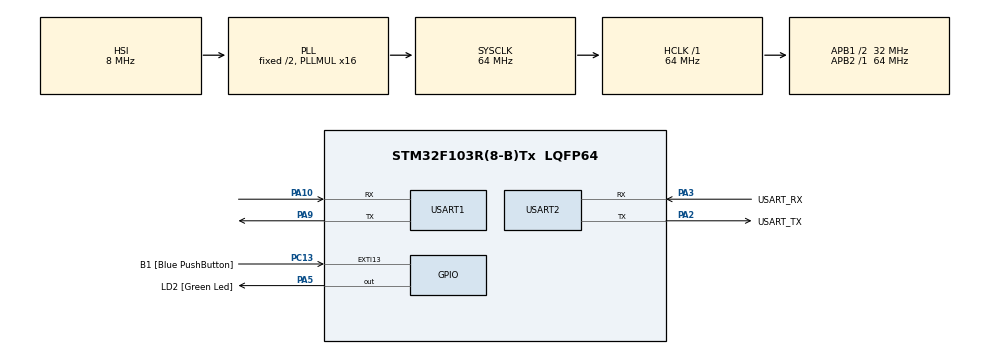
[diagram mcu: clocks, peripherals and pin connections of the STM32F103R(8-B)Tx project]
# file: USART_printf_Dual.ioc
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Mcu.Family=STM32F1
Mcu.Name=STM32F103R(8-B)Tx
Mcu.Package=LQFP64
NVIC.EXTI15_10_IRQn=true\:0\:0\:false\:false\:true\:true\:true\:true
NVIC.PriorityGroup=NVIC_PRIORITYGROUP_4
PA10.Mode=Asynchronous
PA10.Signal=USART1_RX
PA13.GPIO_Label=TMS
PA13.Mode=Serial_Wire
PA13.Signal=SYS_JTMS-SWDIO
PA14.GPIO_Label=TCK
PA14.Mode=Serial_Wire
PA14.Signal=SYS_JTCK-SWCLK
PA2.GPIO_Label=USART_TX
PA2.GPIO_Mode=GPIO_MODE_AF_PP
PA2.GPIO_PuPd=GPIO_NOPULL
PA2.GPIO_Speed=GPIO_SPEED_FREQ_LOW
PA2.Mode=Asynchronous
PA2.Signal=USART2_TX
PA3.GPIO_Label=USART_RX
PA3.GPIO_Mode=GPIO_MODE_INPUT
PA3.GPIO_PuPd=GPIO_NOPULL
PA3.Mode=Asynchronous
PA3.Signal=USART2_RX
PA5.GPIO_Label=LD2 [Green Led]
PA5.GPIO_ModeDefaultOutputPP=GPIO_MODE_OUTPUT_PP
PA5.GPIO_PuPd=GPIO_NOPULL
PA5.GPIO_Speed=GPIO_SPEED_FREQ_LOW
PA5.Signal=GPIO_Output
PA9.Mode=Asynchronous
PA9.Signal=USART1_TX
PB3.GPIO_Label=SWO
PB3.Signal=SYS_JTDO-TRACESWO
PC13-TAMPER-RTC.GPIO_Label=B1 [Blue PushButton]
PC13-TAMPER-RTC.GPIO_PuPd=GPIO_NOPULL
PC13-TAMPER-RTC.Signal=GPXTI13
PC14-OSC32_IN.Mode=LSE-External-Oscillator
PC14-OSC32_IN.Signal=RCC_OSC32_IN
PC15-OSC32_OUT.Mode=LSE-External-Oscillator
PC15-OSC32_OUT.Signal=RCC_OSC32_OUT
PD0-OSC_IN.Mode=HSE-External-Clock-Source
PD0-OSC_IN.Signal=RCC_OSC_IN
PD1-OSC_OUT.Mode=HSE-External-Clock-Source
PD1-OSC_OUT.Signal=RCC_OSC_OUT
ProjectManager.HeapSize=0x200
ProjectManager.StackSize=0x400
ProjectManager.TargetToolchain=STM32CubeIDE
RCC.AHBFreq_Value=64000000
RCC.APB1CLKDivider=RCC_HCLK_DIV2
RCC.APB1Freq_Value=32000000
RCC.APB1TimFreq_Value=64000000
RCC.APB2Freq_Value=64000000
RCC.APB2TimFreq_Value=64000000
RCC.HCLKFreq_Value=64000000
RCC.PLLMUL=RCC_PLL_MUL16
RCC.RTCClockSelection=RCC_RTCCLKSOURCE_LSE
RCC.SYSCLKFreq_VALUE=64000000
RCC.SYSCLKSource=RCC_SYSCLKSOURCE_PLLCLK
RCC.USBFreq_Value=64000000
USART1.VirtualMode=VM_ASYNC
USART2.VirtualMode=VM_ASYNC
board=NUCLEO-F103RB

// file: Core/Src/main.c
/* USER CODE BEGIN Header */
/**
 ******************************************************************************
 * @file           : main.c
 * @brief          : Main program body
 ******************************************************************************
 * @attention
 *
 * Copyright (c) 2026 STMicroelectronics.
 * All rights reserved.
 *
 * This software is licensed under terms that can be found in the LICENSE file
 * in the root directory of this software component.
 * If no LICENSE file comes with this software, it is provided AS-IS.
 *
 ******************************************************************************
 */
/**
 * 08_USART_printf_Dual  —  [계층: HAL]  printf 출력을 USART2(VCP) + USART1(PA9=D8) 로 동시에 보내기
 *
 * 목적: 01_USART_printf 와 같은 문자열을 USART1 에도 내보내, Arduino 헤더 D8(PA9)에서
 *       Analog Discovery 2(Scope/Logic + UART 디코더)로 실제 비트 파형을 관찰한다.
 *       (NUCLEO 기본 설정에서 PA2 는 SB62 OFF 라 D1 에 연결되어 있지 않고 ST-LINK VCP 쪽에만
 *        붙어 있어 헤더에서 측정하기 어렵다. USART1 은 헤더에 직결되어 있다.)
 *
 * 동작: printf -> newlib _write (syscalls.c) -> __io_putchar(ch) (이 파일)
 *         -> HAL_UART_Transmit(&huart2)  : PC 터미널 (ST-LINK 가상 COM)
 *         -> HAL_UART_Transmit(&huart1)  : PA9 = D8 (AD2 측정용)
 *
 * 하드웨어 대응 (RM0008)
 *   USART2 : PA2(TX) / PA3(RX)        , APB1(32MHz), 115200bps 8N1 -> USART2_BRR, USART2_CR1(TE/RE/UE)
 *   USART1 : PA9(TX)=D8 / PA10(RX)=D2 , APB2(64MHz), 115200bps 8N1 -> USART1_BRR, USART1_CR1(TE/RE/UE)
 *            (USART1 은 APB2 소속이라 BRR 값은 USART2 와 다르지만 HAL_UART_Init 이 PCLK2 로 계산한다)
 *   HAL_UART_Transmit : USARTx_SR.TXE 를 폴링하며 USARTx_DR 에 1바이트씩 기록, 끝에 SR.TC 대기 (블로킹)
 *
 * 인터럽트/콜백 없음 (폴링 송신). ISR 은 SysTick_Handler(HAL_Delay 용)뿐이다.
 *
 * AD2 측정 요약: DIO0(또는 Scope CH1)->D8, GND 공통, 115200 8N1, Trigger Fall + Normal 모드.
 *   1비트 = 8.68us, 1문자 = 86.8us, 1초마다 수 ms 길이의 송신 묶음이 나타난다.
 */
/* USER CODE END Header */
#include "main.h"

/* USER CODE BEGIN Includes */
#include <stdio.h>
/* USER CODE END Includes */

UART_HandleTypeDef huart1;
UART_HandleTypeDef huart2;

void SystemClock_Config(void);
static void MX_GPIO_Init(void);
static void MX_USART2_UART_Init(void);
static void MX_USART1_UART_Init(void);

/* USER CODE BEGIN 0 */
#ifdef __GNUC__
#define PUTCHAR_PROTOTYPE int __io_putchar(int ch)
#else
#define PUTCHAR_PROTOTYPE int fputc(int ch, FILE *f)
#endif

/* printf 1문자 출력 훅 (ISR 아님, main 문맥에서 호출됨)
 * 같은 문자를 USART2(PC 터미널)와 USART1(PA9=D8, AD2 측정용)에 차례로 보낸다.
 * 두 포트를 순서대로 폴링 송신하므로 문자당 송신 시간은 약 2배(약 174us)가 된다. */
PUTCHAR_PROTOTYPE {
  if (ch == '\n') {
    HAL_UART_Transmit(&huart2, (uint8_t *)"\r", 1, 0xFFFF); /* USART2_DR <- '\r' */
    HAL_UART_Transmit(&huart1, (uint8_t *)"\r", 1, 0xFFFF); /* USART1_DR <- '\r' */
  }

  HAL_UART_Transmit(&huart2, (uint8_t *)&ch, 1, 0xFFFF);    /* USART2_DR <- ch : VCP */
  HAL_UART_Transmit(&huart1, (uint8_t *)&ch, 1, 0xFFFF);    /* USART1_DR <- ch : D8  */

  return ch;
}
/* USER CODE END 0 */

int main(void)
{

  /* USER CODE BEGIN 1 */
//   uint8_t sMsg[35] = {'\0'};
  uint8_t index = 0;
  /* USER CODE END 1 */

  /* MCU Configuration--------------------------------------------------------*/

  /* Reset of all peripherals, Initializes the Flash interface and the Systick. */
  HAL_Init();

  /* Configure the system clock */
  SystemClock_Config();

  /* Initialize all configured peripherals */
  MX_GPIO_Init();
  MX_USART2_UART_Init();
  MX_USART1_UART_Init();

  /* Infinite loop */
  /* USER CODE BEGIN WHILE */
  HAL_Delay(1000);
  while (1) {
    /* USER CODE END WHILE */

    /* USER CODE BEGIN 3 */
    /* 줄 끝은 '\n' 하나만 쓴다. __io_putchar 가 '\n' 앞에 '\r' 을 붙이므로
     * 실제 송신 바이트는 0D 0A (CR LF) 가 된다. "\r\n" 을 쓰면 0D 0D 0A 가 된다. */
    printf("Hello World!\n");
    printf("Hello, everyone! index = %d\n", index++);
    // printf("%s", sMsg);

    // printf("Hello, everyone! index = %d\n", index++);
    // 비트 단위 관찰용: 위 두 줄 대신 아래 한 줄만 쓰면 'A'(0x41) 파형을 보기 쉽다.
    //   LSB 먼저: Start(0) 1 0 0 0 0 0 1 0 Stop(1)
    // printf("A\n");
    HAL_Delay(1000);
  }
  /* USER CODE END 3 */
}

void SystemClock_Config(void)
{
  RCC_OscInitTypeDef RCC_OscInitStruct = {0};
  RCC_ClkInitTypeDef RCC_ClkInitStruct = {0};

  /** Initializes the RCC Oscillators according to the specified parameters
  * in the RCC_OscInitTypeDef structure.
  */
  RCC_OscInitStruct.OscillatorType = RCC_OSCILLATORTYPE_HSI;
  RCC_OscInitStruct.HSIState = RCC_HSI_ON;
  RCC_OscInitStruct.HSICalibrationValue = RCC_HSICALIBRATION_DEFAULT;
  RCC_OscInitStruct.PLL.PLLState = RCC_PLL_ON;
  RCC_OscInitStruct.PLL.PLLSource = RCC_PLLSOURCE_HSI_DIV2;
  RCC_OscInitStruct.PLL.PLLMUL = RCC_PLL_MUL16;
  if (HAL_RCC_OscConfig(&RCC_OscInitStruct) != HAL_OK)
  {
    Error_Handler();
  }

  /** Initializes the CPU, AHB and APB buses clocks
  */
  RCC_ClkInitStruct.ClockType = RCC_CLOCKTYPE_HCLK|RCC_CLOCKTYPE_SYSCLK
                              |RCC_CLOCKTYPE_PCLK1|RCC_CLOCKTYPE_PCLK2;
  RCC_ClkInitStruct.SYSCLKSource = RCC_SYSCLKSOURCE_PLLCLK;
  RCC_ClkInitStruct.AHBCLKDivider = RCC_SYSCLK_DIV1;
  RCC_ClkInitStruct.APB1CLKDivider = RCC_HCLK_DIV2;
  RCC_ClkInitStruct.APB2CLKDivider = RCC_HCLK_DIV1;

  if (HAL_RCC_ClockConfig(&RCC_ClkInitStruct, FLASH_LATENCY_2) != HAL_OK)
  {
    Error_Handler();
  }
}

static void MX_USART1_UART_Init(void)
{

  huart1.Instance = USART1;
  huart1.Init.BaudRate = 115200;
  huart1.Init.WordLength = UART_WORDLENGTH_8B;
  huart1.Init.StopBits = UART_STOPBITS_1;
  huart1.Init.Parity = UART_PARITY_NONE;
  huart1.Init.Mode = UART_MODE_TX_RX;
  huart1.Init.HwFlowCtl = UART_HWCONTROL_NONE;
  huart1.Init.OverSampling = UART_OVERSAMPLING_16;
  if (HAL_UART_Init(&huart1) != HAL_OK)
  {
    Error_Handler();
  }

}

static void MX_USART2_UART_Init(void)
{

  huart2.Instance = USART2;
  huart2.Init.BaudRate = 115200;
  huart2.Init.WordLength = UART_WORDLENGTH_8B;
  huart2.Init.StopBits = UART_STOPBITS_1;
  huart2.Init.Parity = UART_PARITY_NONE;
  huart2.Init.Mode = UART_MODE_TX_RX;
  huart2.Init.HwFlowCtl = UART_HWCONTROL_NONE;
  huart2.Init.OverSampling = UART_OVERSAMPLING_16;
  if (HAL_UART_Init(&huart2) != HAL_OK)
  {
    Error_Handler();
  }

}

static void MX_GPIO_Init(void)
{
  GPIO_InitTypeDef GPIO_InitStruct = {0};

  /* GPIO Ports Clock Enable */
  __HAL_RCC_GPIOC_CLK_ENABLE();
  __HAL_RCC_GPIOD_CLK_ENABLE();
  __HAL_RCC_GPIOA_CLK_ENABLE();
  __HAL_RCC_GPIOB_CLK_ENABLE();

  /*Configure GPIO pin Output Level */
  HAL_GPIO_WritePin(LD2_GPIO_Port, LD2_Pin, GPIO_PIN_RESET);

  /*Configure GPIO pin : B1_Pin */
  GPIO_InitStruct.Pin = B1_Pin;
  GPIO_InitStruct.Mode = GPIO_MODE_IT_RISING;
  GPIO_InitStruct.Pull = GPIO_NOPULL;
  HAL_GPIO_Init(B1_GPIO_Port, &GPIO_InitStruct);

  /*Configure GPIO pin : LD2_Pin */
  GPIO_InitStruct.Pin = LD2_Pin;
  GPIO_InitStruct.Mode = GPIO_MODE_OUTPUT_PP;
  GPIO_InitStruct.Pull = GPIO_NOPULL;
  GPIO_InitStruct.Speed = GPIO_SPEED_FREQ_LOW;
  HAL_GPIO_Init(LD2_GPIO_Port, &GPIO_InitStruct);

  /* EXTI interrupt init*/
  HAL_NVIC_SetPriority(EXTI15_10_IRQn, 0, 0);
  HAL_NVIC_EnableIRQ(EXTI15_10_IRQn);

}

void Error_Handler(void)
{
  __disable_irq();
  while (1) {
  }
}
#ifdef USE_FULL_ASSERT
/**
  * @brief  Reports the name of the source file and the source line number
  *         where the assert_param error has occurred.
  * @param  file: pointer to the source file name
  * @param  line: assert_param error line source number
  * @retval None
  */
void assert_failed(uint8_t *file, uint32_t line)
{
  /* USER CODE BEGIN 6 */
  /* User can add his own implementation to report the file name and line
     number, ex: printf("Wrong parameters value: file %s on line %d\r\n", file,
     line) */
  /* USER CODE END 6 */
}
#endif /* USE_FULL_ASSERT */
